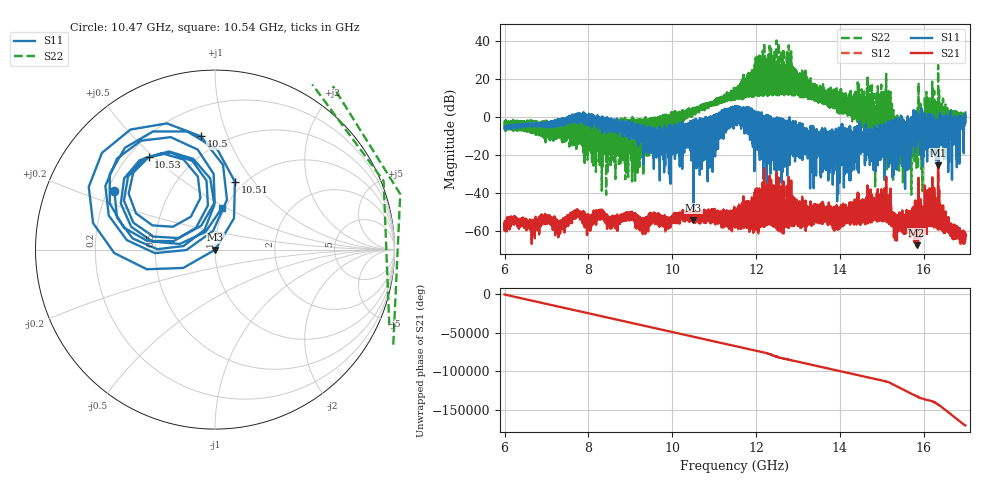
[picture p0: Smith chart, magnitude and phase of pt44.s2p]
#  HZ  S  RI  R  50.00
! Rohde & Schwarz Vector Network Analyzer
! Rohde-Schwarz,ZNA67-2Port,1332450062101215,3.01
! Created: UTC 10/15/2026, 4:46:53 PM
! freq[Hz]  re:S11  im:S11  re:S21  im:S21  re:S12  im:S12  re:S22  im:S22
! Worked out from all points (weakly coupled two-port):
!   11001 points, 6 GHz to 17 GHz, reference 50 ohm
!   highest |S21| = -25.53 dB at 16.35 GHz (marker M1); lowest = -67.4 dB at 15.83 GHz (marker M2)
!   lowest |S11| = -54.2 dB at 10.51 GHz (marker M3), VSWR 1.00, Z = 50.2 - j0.0148 ohm
!   |S11| at or under -10 dB: 13.47957 GHz to 13.5191 GHz (39.53 MHz wide, 0.293 % of centre); 13.60806 GHz to 13.64682 GHz (38.76 MHz wide, 0.284 % of centre); 13.7721 GHz to 13.80256 GHz (30.46 MHz wide, 0.221 % of centre) (the widest 3 of 529)
!   |S22| runs from -41.0 to 40.1 dB; largest |S21 - S12| = 0.0031
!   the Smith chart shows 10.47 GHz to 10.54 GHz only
!   S11 on the Smith chart (normalised r, x): 10.47 GHz: 0.23, +0.26; 10.5 GHz: 0.38, +0.81; 10.51 GHz: 0.91, +0.81; 10.53 GHz: 0.28, +0.48; 10.54 GHz: 0.97, +0.48
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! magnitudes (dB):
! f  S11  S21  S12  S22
! 6 GHz  -5.1  -56.7  -56.7  -4.9
! 7.011 GHz  -3.3  -52.7  -52.7  -5.1
! 7.303 GHz  -3.2  -57.8  -57.9  -7.2
! 7.834 GHz  -0.5  -52.9  -52.8  -2.7
! 9.667 GHz  -12.8  -50.7  -50.6  -0.1
! 10.47 GHz  -3.8  -54.6  -54.8  3.0
! 10.5 GHz  -3.9  -51.1  -51.1  2.1
! 10.51 GHz  -54.2  -52.3  -52.4  3.6
! 10.51 GHz  -8.1  -49.9  -50.1  1.9
! 10.53 GHz  -4.0  -52.5  -52.6  2.2
! 10.54 GHz  -12.5  -53.5  -53.5  2.8
! 11.5 GHz  5.4  -52.5  -52.4  11.0
! 12.59 GHz  -7.5  -59.0  -58.5  11.7
! 13.33 GHz  -9.2  -50.8  -51.0  11.9
! 14.15 GHz  -12.4  -51.5  -51.8  7.2
! 15.17 GHz  -9.2  -52.7  -52.7  -0.6
! 15.35 GHz  -1.8  -52.7  -52.7  -13.0
! 15.69 GHz  -6.7  -55.7  -54.7  -13.9
! 15.83 GHz  2.5  -67.4  -67.9  -26.8
! 16.35 GHz  -4.3  -25.5  -25.1  27.2
! 16.82 GHz  -2.1  -62.9  -62.5  -0.5
! 17 GHz  2.2  -62.9  -62.2  0.3
